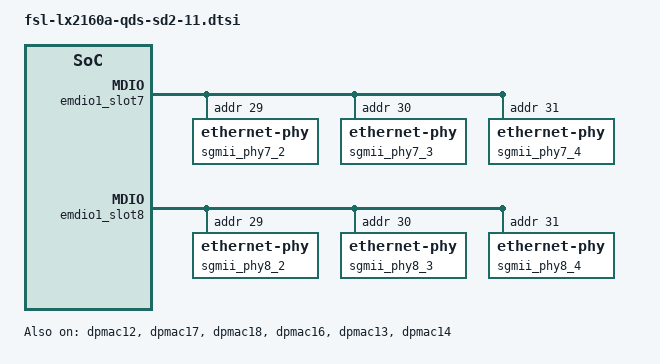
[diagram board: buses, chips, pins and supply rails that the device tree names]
// SPDX-License-Identifier: GPL-2.0+ OR X11
/*
 * NXP LX2160AQDS device tree source for the SERDES block #2 - protocol 11
 *
 * Some assumptions are made:
 *    * 2 mezzanine cards M1/M4 are connected to IO SLOT 7 and IO SLOT 8
 *       (sgmii for DPMAC 12, 13, 14, 16, 17, 18)
 *
 * Copyright 2020 NXP
 *
 */
#include "fsl-lx2160a-qds.dtsi"

&dpmac12 {
	status = "okay";
	phy-handle = <&sgmii_phy7_2>;
	phy-connection-type = "sgmii";
};

&dpmac17 {
	status = "okay";
	phy-handle = <&sgmii_phy7_3>;
	phy-connection-type = "sgmii";
};

&dpmac18 {
	status = "okay";
	phy-handle = <&sgmii_phy7_4>;
	phy-connection-type = "sgmii";
};

&dpmac16 {
	status = "okay";
	phy-handle = <&sgmii_phy8_2>;
	phy-connection-type = "sgmii";
};

&dpmac13 {
	status = "okay";
	phy-handle = <&sgmii_phy8_3>;
	phy-connection-type = "sgmii";
};

&dpmac14 {
	status = "okay";
	phy-handle = <&sgmii_phy8_4>;
	phy-connection-type = "sgmii";
};

&emdio1_slot7 {
	sgmii_phy7_2: ethernet-phy@1d {
		reg = <0x1d>;
	};

	sgmii_phy7_3: ethernet-phy@1e {
		reg = <0x1e>;
	};

	sgmii_phy7_4: ethernet-phy@1f {
		reg = <0x1f>;
	};
};

&emdio1_slot8 {
	sgmii_phy8_2: ethernet-phy@1d {
		reg = <0x1d>;
	};

	sgmii_phy8_3: ethernet-phy@1e {
		reg = <0x1e>;
	};

	sgmii_phy8_4: ethernet-phy@1f {
		reg = <0x1f>;
	};
};
